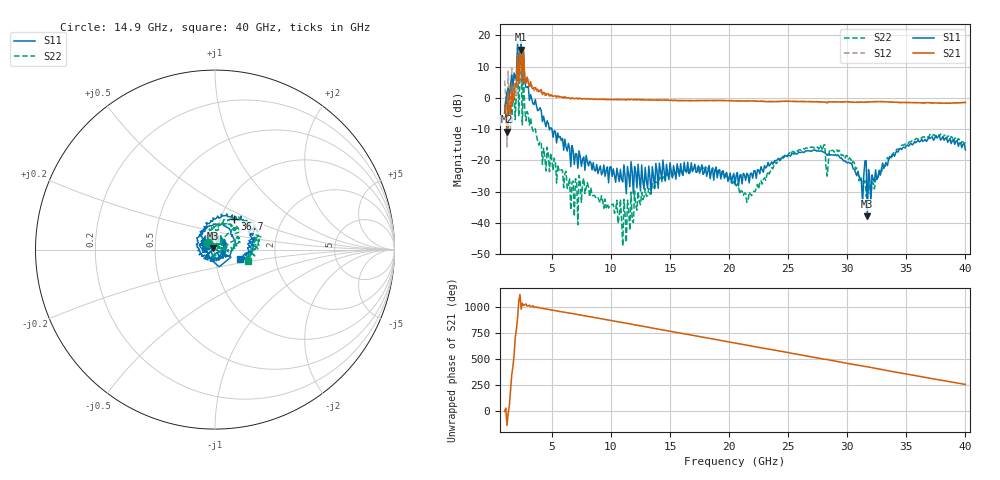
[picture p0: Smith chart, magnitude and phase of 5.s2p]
!Keysight Technologies,N5224A,MY55441802,A.10.65.16
!Date: Wednesday, May 13, 2026 18:40:28
!Correction: S11(Full 2 Port(1,2))
!S21(Full 2 Port(1,2))
!S12(Full 2 Port(1,2))
!S22(Full 2 Port(1,2))
!S2P File: Measurements: S11, S21, S12, S22:
# Hz S  dB  R 50
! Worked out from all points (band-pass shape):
!   391 points, 1 GHz to 40 GHz, reference 50 ohm
!   highest |S21| = 15.42 dB at 2.4 GHz (marker M1); lowest = -10.8 dB at 1.2 GHz (marker M2)
!   |S21| within 3 dB of the highest: 2.087 GHz to 2.114 GHz (26.58 MHz wide, 1.27 % of centre); 2.288 GHz to 2.427 GHz (139.7 MHz wide, 5.93 % of centre) (the widest 2 of 3)
!   lowest |S11| = -37.9 dB at 31.7 GHz (marker M3), VSWR 1.03, Z = 49 + j0.708 ohm
!   |S11| at or under -10 dB: 4.789 GHz to 4.832 GHz (43.18 MHz wide, 0.898 % of centre); 5.005 GHz to end of sweep
!   |S22| runs from -47.4 to 11.6 dB; largest |S21 - S12| = 2.3
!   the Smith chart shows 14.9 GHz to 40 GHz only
!   S11 on the Smith chart (normalised r, x): 14.9 GHz: 0.92, +0.04; 36.7 GHz: 1.16, +0.41; 40 GHz: 1.31, -0.14
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1e9  -4.84 -78.9  -2.40 -7.7  5.55 -2.2  -5.13 -50.7
1.2e9  1.88 -0.1  -10.80 -142.8  -15.68 -81.7  -0.31 -26.5
1.7e9  3.28 159.8  -1.48 62.1  -1.28 15.6  -0.27 27.3
1.8e9  7.98 -8.7  0.74 173.2  -0.94 176.0  2.98 -34.1
2e9  7.26 154.6  3.83 65.2  0.43 32.9  2.10 15.2
2.1e9  17.91 -0.3  13.68 179.5  13.18 172.6  11.59 -20.7
2.2e9  6.61 -40.1  4.67 -21.9  7.24 -22.6  -5.84 37.9
2.3e9  14.16 116.0  13.53 41.6  8.68 25.2  8.50 -17.1
2.4e9  18.39 80.6  15.42 -99.4  15.64 -105.1  10.94 58.7
2.5e9  3.93 -62.2  4.44 -41.5  5.89 -43.0  -8.61 1.9
2.6e9  14.67 1.0  15.36 -63.6  11.37 -68.3  7.76 -137.0
2.7e9  5.76 125.2  6.04 -58.3  7.05 -63.4  -3.44 105.7
2.8e9  3.37 -72.4  4.67 -49.0  5.84 -50.8  -7.28 -15.7
7.5e9  -21.90 -9.3  -0.26 -158.5  -0.16 -157.9  -33.46 16.4
1.4e10  -28.94 171.8  -0.77 67.6  -0.74 67.6  -27.56 163.2
1.49e10  -26.12 151.0  -0.80 48.7  -0.75 48.8  -25.51 138.8
2.05e10  -27.72 -17.9  -0.98 -66.9  -0.88 -67.1  -27.11 59.8
2.7e10  -17.04 78.7  -1.20 158.9  -1.18 158.6  -15.78 58.1
3.17e10  -37.91 145.4  -1.29 63.8  -1.27 63.1  -31.95 14.3
3.35e10  -19.79 135.3  -1.28 24.5  -1.25 24.2  -19.57 85.0
3.67e10  -13.89 57.7  -1.52 -40.1  -1.56 -40.5  -12.51 37.0
4e10  -16.64 -21.6  -1.43 -106.9  -1.48 -107.5  -14.16 -18.4
